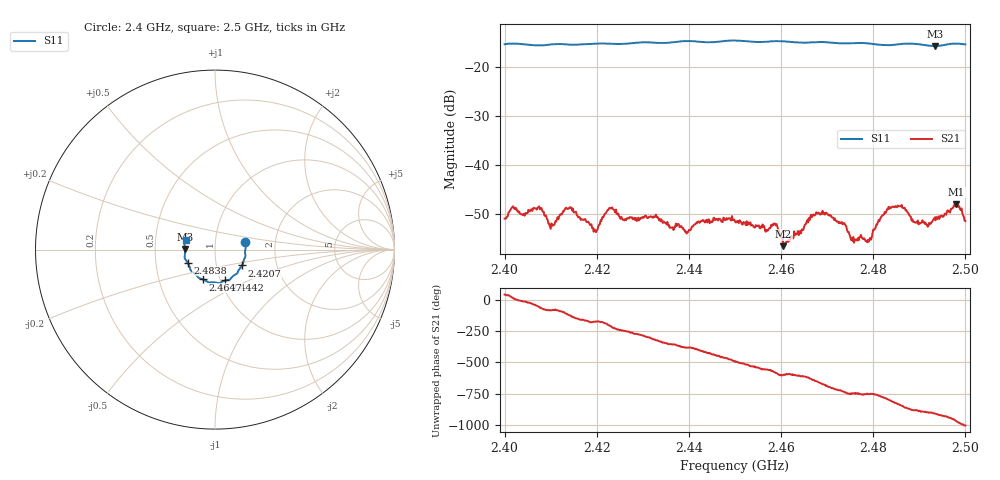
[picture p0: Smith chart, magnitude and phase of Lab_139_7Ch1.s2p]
# Hz S RI R 50
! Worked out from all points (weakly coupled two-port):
!   601 points, 2.4 GHz to 2.5 GHz, reference 50 ohm
!   highest |S21| = -47.86 dB at 2.498 GHz (marker M1); lowest = -56.5 dB at 2.4605 GHz (marker M2)
!   lowest |S11| = -15.6 dB at 2.4935 GHz (marker M3), VSWR 1.40, Z = 35.8 + j0.143 ohm
!   |S11| at or under -10 dB: start of sweep to end of sweep
!   S12 and S22 are empty: the file has one direction only
!   S11 on the Smith chart (normalised r, x): 2.4 GHz: 1.40, +0.11; 2.4207 GHz: 1.33, -0.24; 2.4442 GHz: 1.05, -0.37; 2.4647 GHz: 0.83, -0.29; 2.4838 GHz: 0.73, -0.11; 2.5 GHz: 0.71, +0.08
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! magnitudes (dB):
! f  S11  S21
! 2.4 GHz  -15.2  -50.9
! 2.4075 GHz  -15.5  -48.4
! 2.4103 GHz  -15.3  -52.4
! 2.414 GHz  -15.3  -48.7
! 2.4167 GHz  -15.3  -51.0
! 2.4207 GHz  -15.1  -52.0
! 2.423 GHz  -15.2  -48.8
! 2.4333 GHz  -15.0  -50.7
! 2.4393 GHz  -14.6  -53.5
! 2.4442 GHz  -14.9  -51.2
! 2.45 GHz  -14.5  -51.4
! 2.4587 GHz  -14.6  -51.8
! 2.4605 GHz  -14.7  -56.5
! 2.4647 GHz  -14.9  -53.1
! 2.4667 GHz  -14.9  -50.6
! 2.4702 GHz  -14.9  -50.1
! 2.4787 GHz  -15.1  -55.7
! 2.4833 GHz  -15.4  -48.5
! 2.4838 GHz  -15.4  -48.7
! 2.4935 GHz  -15.6  -51.2
! 2.498 GHz  -15.1  -47.9
! 2.5 GHz  -15.3  -51.4
